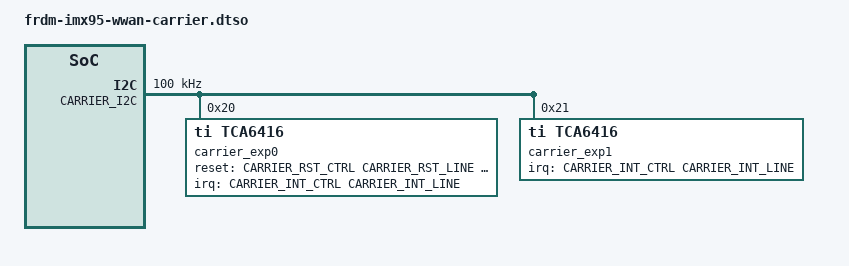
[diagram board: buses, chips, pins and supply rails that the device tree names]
// SPDX-License-Identifier: (GPL-2.0-only OR MIT)
/*
 * FRDM-IMX95 + WWAN carrier rev 0.2 - device-tree overlay SKELETON
 *
 * *** UNTESTED. NOT COMPILED AGAINST A REAL BSP. DO NOT SHIP. ***
 *
 * Placeholders that MUST be resolved before use (see docs/open-issues.md):
 *   CARRIER_I2C        LPI2C controller label wired to J801 pins 3/4 (TODO: pick FRDM header pins)
 *   CARRIER_INT_GPIO   SoC GPIO controller + line for EXP_INT_N (J801 pin 5), must be IRQ-capable, 3.3 V pad
 *   CARRIER_RST_GPIO   SoC GPIO controller + line for EXP_RESET_N (J801 pin 6)
 *   pinctrl            pad mux for the above (I2C open-drain, INT with pull-up)
 *
 * Line names come from carrier-gpio-line-names.dtsi, GENERATED by tools/gen_interface.py from the
 * KiCad netlist; they match docs/hw-sw-interface.md.  Preprocess with cpp (see docs/linux-bringup.md).
 */
/dts-v1/;
/plugin/;

#include <dt-bindings/gpio/gpio.h>
#include <dt-bindings/interrupt-controller/irq.h>
#include "carrier-gpio-line-names.dtsi"

/* ---- placeholders: edit these four lines ------------------------------------------------- */
#define CARRIER_I2C       lpi2c3          /* TODO: placeholder label */
#define CARRIER_INT_CTRL  gpio2           /* TODO: placeholder */
#define CARRIER_INT_LINE  0               /* TODO: placeholder */
#define CARRIER_RST_CTRL  gpio2           /* TODO: placeholder */
#define CARRIER_RST_LINE  1               /* TODO: placeholder */
/* ------------------------------------------------------------------------------------------- */

&CARRIER_I2C {
	#address-cells = <1>;
	#size-cells = <0>;
	clock-frequency = <100000>;	/* raise to 400 kHz after bring-up test T2 */
	status = "okay";

	/* U801: slot power/FCPO/RESET/WDIS/PCIE_EN + HUB_RESET_N - ALL OUTPUTS.
	 * Consumers must request lines with an explicit initial value (see power-reset-sequencing.md sec. 9). */
	carrier_exp0: gpio@20 {
		compatible = "ti,tca6416";
		reg = <0x20>;
		gpio-controller;
		#gpio-cells = <2>;
		interrupt-controller;
		#interrupt-cells = <2>;
		interrupts-extended = <&CARRIER_INT_CTRL CARRIER_INT_LINE IRQ_TYPE_LEVEL_LOW>;
		/* EXP_RESET_N is shared by U801/U802; pca953x requests it exclusively, so only this node owns it. */
		reset-gpios = <&CARRIER_RST_CTRL CARRIER_RST_LINE GPIO_ACTIVE_LOW>;
		gpio-line-names = CARRIER_GPIO_NAMES_20;
	};

	/* U802: power-good + WAKE# inputs, user LEDs, spares. Shares the open-drain INT# net with U801. */
	carrier_exp1: gpio@21 {
		compatible = "ti,tca6416";
		reg = <0x21>;
		gpio-controller;
		#gpio-cells = <2>;
		interrupt-controller;
		#interrupt-cells = <2>;
		interrupts-extended = <&CARRIER_INT_CTRL CARRIER_INT_LINE IRQ_TYPE_LEVEL_LOW>;
		gpio-line-names = CARRIER_GPIO_NAMES_21;
	};

	/*
	 * Optional: USB5744 SMBus attach by the kernel (CONFIG_USB_ONBOARD_DEV_USB5744).
	 * Address 0x2d is from the Linux binding example, NOT yet confirmed on our board (VERIFY with i2cdetect).
	 * Also needs usb424,2744 / usb424,5744 child nodes under the FRDM USB controller that the carrier's
	 * USB-C cable plugs into, with i2c-bus = <&carrier_usbhub>.  Until that node is known, leave this
	 * disabled and use `carrierctl.py hub-attach`.
	 */
	carrier_usbhub: usb-hub@2d {
		compatible = "microchip,usb5744";
		reg = <0x2d>;
		status = "disabled";
	};

	/* PI7C9X3G606GP (0x6F per DS43484, VERIFY - datasheet examples also show 0x68) sits behind the
	 * PCA9306 translator. No Linux driver; configuration/debug access only via i2c-dev. Not described here. */
};

/*
 * PCIe: no nodes needed. The switch (12d8:c008) and the Qualcomm-based module endpoints (17cb:0308, mhi-pci-generic) are enumerated.
 * If late power-on of slots causes BAR assignment failures, see docs/linux-bringup.md "Known issues" #1.
 */
